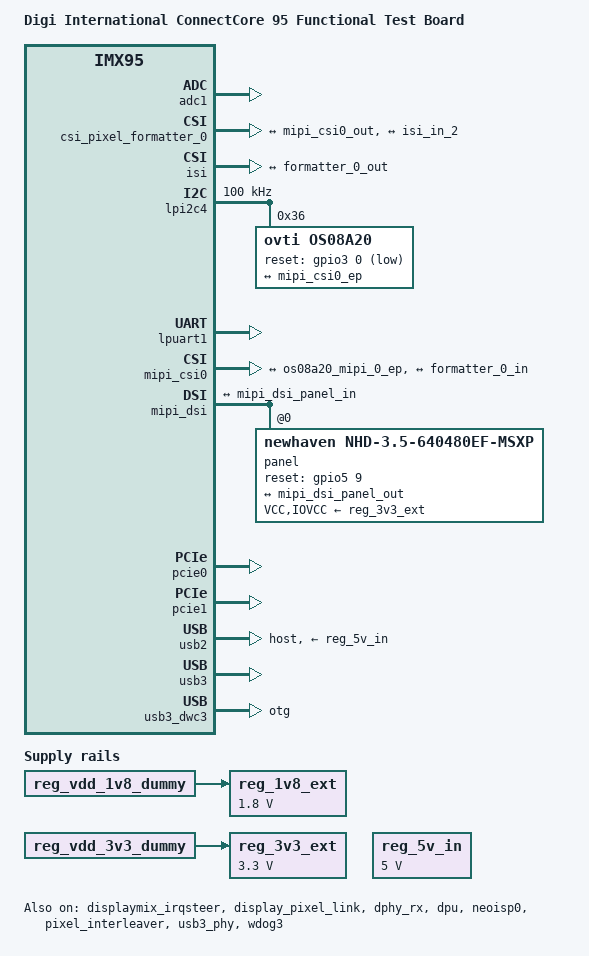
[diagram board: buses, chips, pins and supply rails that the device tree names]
// SPDX-License-Identifier: (GPL-2.0+ OR MIT)
/*
 * Copyright 2026, Digi International Inc.
 */

/dts-v1/;

#include <dt-bindings/phy/phy-imx8-pcie.h>
#include <dt-bindings/pwm/pwm.h>
#include <dt-bindings/usb/pd.h>
/* i.MX95 CPU */
#include "../freescale/imx95.dtsi"
/* Digi ConnectCore 95 (SOM) */
#include "ccimx95.dtsi"

/ {
	model = "Digi International ConnectCore 95 Functional Test Board";
	compatible = "digi,ccimx95-dvk", "digi,ccimx95", "fsl,imx95-19x19-evk", "fsl,imx95";
	digi,machine,name = "ccimx95-dvk";

	chosen {
		stdout-path = &lpuart1;
	};

	regulators {
		compatible = "simple-bus";
		#address-cells = <1>;
		#size-cells = <0>;

		reg_1v8_ext: regulator-1v8-ext {
			compatible = "regulator-fixed";
			regulator-max-microvolt = <1800000>;
			regulator-min-microvolt = <1800000>;
			regulator-name = "1v8_ext";
			vin-supply = <&reg_vdd_1v8_dummy>;
		};

		reg_3v3_ext: regulator-3v3-ext {
			compatible = "regulator-fixed";
			regulator-max-microvolt = <3300000>;
			regulator-min-microvolt = <3300000>;
			regulator-name = "3v3_ext";
			vin-supply = <&reg_vdd_3v3_dummy>;
		};

		reg_5v_in: regulator-5v-board {
			compatible = "regulator-fixed";
			regulator-max-microvolt = <5000000>;
			regulator-min-microvolt = <5000000>;
			regulator-name = "5v_in";
			enable-active-high;
		};
	};
};

&adc1 {
	status = "okay";
};

&csi_pixel_formatter_0 {
	status = "okay";

	ports {
		#address-cells = <1>;
		#size-cells = <0>;

		port@0 {
			reg = <0>;

			formatter_0_in: endpoint {
				remote-endpoint = <&mipi_csi0_out>;
			};
		};

		port@1 {
			reg = <1>;

			formatter_0_out: endpoint {
				remote-endpoint = <&isi_in_2>;
			};
		};
	};
};

&displaymix_irqsteer {
	status = "okay";
};

&display_pixel_link {
	status = "okay";
};

&dphy_rx {
	status = "okay";
};

&dpu {
	assigned-clocks = <&scmi_clk IMX95_CLK_DISP1PIX>,
			  <&scmi_clk IMX95_CLK_VIDEOPLL1_VCO>,
			  <&scmi_clk IMX95_CLK_VIDEOPLL1>;
	assigned-clock-parents = <&scmi_clk IMX95_CLK_VIDEOPLL1>;
	assigned-clock-rates = <0>, <4008000000>, <445333334>;
	status = "okay";
};

&isi {
	status = "okay";

	ports {
		#address-cells = <1>;
		#size-cells = <0>;

		/*
		* ISI ports 0 and 1 are fed by DPU pixel-link outputs.
		* ISI ports 2 and 3 are fed by CameraMix
		* (formatter/interleaver) outputs.
		*/
		port@2 {
			reg = <2>;

			isi_in_2: endpoint {
				remote-endpoint = <&formatter_0_out>;
			};
		};
	};
};

&lpi2c4 {
	#address-cells = <1>;
	#size-cells = <0>;
	clock-frequency = <100000>;
	status = "okay";

	/* MIPI-CSI camera */
	os08a20: os08a20_mipi@36 {
		compatible = "ovti,os08a20";
		reg = <0x36>;
		pinctrl-names = "default";
		pinctrl-0 = <&pinctrl_mipi_camera>;
		reset-gpios = <&gpio3 0 GPIO_ACTIVE_LOW>;
		orientation = <2>;
		rotation = <0>;
		status = "okay";

		port {
			os08a20_mipi_0_ep: endpoint {
				remote-endpoint = <&mipi_csi0_ep>;
				data-lanes = <1 2 3 4>;
				clock-lanes = <0>;
			};
		};
	};
};

/* Console */
&lpuart1 {
	/* Errata: DMA does not work on LPUART1 */
	/delete-property/dmas;
	/delete-property/dma-names;
	status = "okay";
};

&mipi_csi0 {
	status = "okay";

	ports {
		#address-cells = <1>;
		#size-cells = <0>;

		port@0 {
			reg = <0>;

			mipi_csi0_ep: endpoint {
				remote-endpoint = <&os08a20_mipi_0_ep>;
				data-lanes = <1 2 3 4>;
				clock-lanes = <0>;
			};
		};

		port@1 {
			reg = <1>;
			mipi_csi0_out: endpoint {
				remote-endpoint = <&formatter_0_in>;
			};
		};
	};
};

&mipi_dsi {
	#address-cells = <1>;
	#size-cells = <0>;
	status = "okay";

	ports {
		#address-cells = <1>;
		#size-cells = <0>;

		port@1 {
			reg = <1>;

			mipi_dsi_panel_out: endpoint {
				remote-endpoint = <&mipi_dsi_panel_in>;
			};
		};
	};

	panel@0 {
		compatible = "newhaven,nhd-3.5-640480ef-msxp";
		reg = <0>;
		VCC-supply = <&reg_3v3_ext>;
		IOVCC-supply = <&reg_3v3_ext>;
		pinctrl-names = "default";
		pinctrl-0 = <&pinctrl_mipi_display>;
		reset-gpios = <&gpio5 9 GPIO_ACTIVE_HIGH>;
		dsi-lanes = <4>;
		status = "okay";

		port {
			mipi_dsi_panel_in: endpoint {
				remote-endpoint = <&mipi_dsi_panel_out>;
			};
		};
	};
};

&neoisp0 {
	status = "okay";
};

/* M.2 E-Key slot */
&pcie0 {
	vpcie-supply = <&reg_3v3_ext>;
	status = "okay";
};

/* M.2 B-Key slot */
&pcie1 {
	vpcie-supply = <&reg_3v3_ext>;
	status = "okay";
};

&pcie1_ep {
	vpcie-supply = <&reg_3v3_ext>;
};

&pixel_interleaver {
	#address-cells = <1>;
	#size-cells = <0>;
	status = "okay";

	channel@0 {
		reg = <0>;
		status = "okay";
	};
};

&usb2 {
	vbus-supply = <&reg_5v_in>;
	dr_mode = "host";
	disable-over-current;
	status = "okay";
};

&usb3 {
	status = "okay";
};

&usb3_dwc3 {
	dr_mode = "otg";
	hnp-disable;
	srp-disable;
	adp-disable;
	usb-role-switch;
	role-switch-default-mode = "host";
	snps,dis-u1-entry-quirk;
	snps,dis-u2-entry-quirk;
	status = "okay";
};

&usb3_phy {
	vbus-supply = <&reg_5v_in>;
	fsl,phy-pcs-tx-deemph-3p5db-attenuation-db = <17>;
	fsl,phy-pcs-tx-swing-full-percent = <100>;
	fsl,phy-tx-preemp-amp-tune-microamp = <600>;
	fsl,phy-tx-vboost-level-microvolt = <1156>;
	status = "okay";
};

&vpuctrl {
	boot = <&vpu_boot>;
	sram = <&sram1>;
};

&wdog3 {
	status = "okay";
};

&scmi_iomuxc {
	pinctrl-names = "default";
	pinctrl-0 = <&pinctrl_gpio>, <&pinctrl_gpio_non_wb>;

	pinctrl_gpio: gpiogrp {
		fsl,pins = <
			/* Common pairs */
			IMX95_PAD_XSPI1_SS1_B__GPIO5_IO_BIT11	0x31e
			IMX95_PAD_SAI1_RXD0__AONMIX_TOP_GPIO1_IO_BIT14	0x31e

			IMX95_PAD_UART2_RXD__AONMIX_TOP_GPIO1_IO_BIT6	0x31e
			IMX95_PAD_SAI1_TXD0__AONMIX_TOP_GPIO1_IO_BIT13	0x31e

			IMX95_PAD_GPIO_IO07__GPIO2_IO_BIT7	0x31e
			IMX95_PAD_UART2_TXD__AONMIX_TOP_GPIO1_IO_BIT7	0x31e

			IMX95_PAD_GPIO_IO04__GPIO2_IO_BIT4	0x31e
			IMX95_PAD_XSPI1_DATA1__GPIO5_IO_BIT1	0x31e

			IMX95_PAD_GPIO_IO29__GPIO2_IO_BIT29	0x31e
			IMX95_PAD_XSPI1_DATA3__GPIO5_IO_BIT3	0x31e

			IMX95_PAD_XSPI1_DATA0__GPIO5_IO_BIT0	0x31e
			IMX95_PAD_GPIO_IO31__GPIO2_IO_BIT31	0x31e

			IMX95_PAD_GPIO_IO34__GPIO5_IO_BIT14	0x31e
			IMX95_PAD_XSPI1_DATA4__GPIO5_IO_BIT4	0x31e

			IMX95_PAD_SD2_DATA0__GPIO3_IO_BIT3	0x31e
			IMX95_PAD_GPIO_IO00__GPIO2_IO_BIT0	0x31e

			IMX95_PAD_SD2_DATA1__GPIO3_IO_BIT4	0x31e
			IMX95_PAD_I2C2_SCL__AONMIX_TOP_GPIO1_IO_BIT2	0x31e

			IMX95_PAD_SD2_DATA3__GPIO3_IO_BIT6	0x31e
			IMX95_PAD_GPIO_IO01__GPIO2_IO_BIT1	0x31e

			IMX95_PAD_GPIO_IO08__GPIO2_IO_BIT8	0x31e
			IMX95_PAD_PDM_BIT_STREAM0__AONMIX_TOP_GPIO1_IO_BIT9	0x31e

			IMX95_PAD_GPIO_IO09__GPIO2_IO_BIT9	0x31e
			IMX95_PAD_GPIO_IO27__GPIO2_IO_BIT27	0x31e

			IMX95_PAD_GPIO_IO10__GPIO2_IO_BIT10	0x31e
			IMX95_PAD_GPIO_IO25__GPIO2_IO_BIT25	0x31e

			IMX95_PAD_SD2_CMD__GPIO3_IO_BIT2	0x31e
			IMX95_PAD_I2C2_SDA__AONMIX_TOP_GPIO1_IO_BIT3	0x31e

			IMX95_PAD_SD2_DATA2__GPIO3_IO_BIT5	0x31e
			IMX95_PAD_GPIO_IO14__GPIO2_IO_BIT14	0x31e

			IMX95_PAD_SD2_CLK__GPIO3_IO_BIT1	0x31e
			IMX95_PAD_GPIO_IO12__GPIO2_IO_BIT12	0x31e

			IMX95_PAD_GPIO_IO11__GPIO2_IO_BIT11	0x31e
			IMX95_PAD_PDM_CLK__AONMIX_TOP_GPIO1_IO_BIT8	0x31e

			IMX95_PAD_GPIO_IO35__GPIO5_IO_BIT15	0x31e
			IMX95_PAD_XSPI1_DATA5__GPIO5_IO_BIT5	0x31e

			IMX95_PAD_GPIO_IO36__GPIO5_IO_BIT16	0x31e
			IMX95_PAD_XSPI1_DATA6__GPIO5_IO_BIT6	0x31e

			IMX95_PAD_GPIO_IO33__GPIO5_IO_BIT13	0x31e
			IMX95_PAD_XSPI1_DATA7__GPIO5_IO_BIT7	0x31e

			IMX95_PAD_GPIO_IO24__GPIO2_IO_BIT24	0x31e
			IMX95_PAD_GPIO_IO15__GPIO2_IO_BIT15	0x31e

			IMX95_PAD_GPIO_IO32__GPIO5_IO_BIT12	0x31e
			IMX95_PAD_GPIO_IO21__GPIO2_IO_BIT21	0x31e

			IMX95_PAD_GPIO_IO13__GPIO2_IO_BIT13	0x31e
			IMX95_PAD_SAI1_TXC__AONMIX_TOP_GPIO1_IO_BIT12	0x31e

			IMX95_PAD_GPIO_IO16__GPIO2_IO_BIT16	0x31e
			IMX95_PAD_SD2_RESET_B__GPIO3_IO_BIT7	0x31e

			IMX95_PAD_SAI1_TXFS__AONMIX_TOP_GPIO1_IO_BIT11	0x31e
			IMX95_PAD_CCM_CLKO2__GPIO3_IO_BIT27	0x31e

			IMX95_PAD_ENET2_MDIO__GPIO4_IO_BIT15	0x31e
			IMX95_PAD_CCM_CLKO1__GPIO3_IO_BIT26	0x31e

			IMX95_PAD_CCM_CLKO4__GPIO4_IO_BIT29	0x31e
			IMX95_PAD_ENET2_MDC__GPIO4_IO_BIT14	0x31e

			IMX95_PAD_GPIO_IO37__GPIO5_IO_BIT17	0x31e
			IMX95_PAD_GPIO_IO17__GPIO2_IO_BIT17	0x31e

			IMX95_PAD_ENET1_TXC__GPIO4_IO_BIT7	0x31e
			IMX95_PAD_ENET2_TXC__GPIO4_IO_BIT21	0x31e

			IMX95_PAD_ENET1_RXC__GPIO4_IO_BIT9	0x31e
			IMX95_PAD_ENET2_RXC__GPIO4_IO_BIT23	0x31e

			IMX95_PAD_ENET1_TX_CTL__GPIO4_IO_BIT6	0x31e
			IMX95_PAD_ENET2_TX_CTL__GPIO4_IO_BIT20	0x31e

			IMX95_PAD_ENET1_TD1__GPIO4_IO_BIT4	0x31e
			IMX95_PAD_ENET2_TD1__GPIO4_IO_BIT18	0x31e

			IMX95_PAD_ENET1_TD3__GPIO4_IO_BIT2	0x31e
			IMX95_PAD_ENET2_TD3__GPIO4_IO_BIT16	0x31e

			IMX95_PAD_ENET1_RD0__GPIO4_IO_BIT10	0x31e
			IMX95_PAD_ENET2_RD0__GPIO4_IO_BIT24	0x31e

			IMX95_PAD_ENET1_RD2__GPIO4_IO_BIT12	0x31e
			IMX95_PAD_ENET2_RD2__GPIO4_IO_BIT26	0x31e

			IMX95_PAD_ENET1_RX_CTL__GPIO4_IO_BIT8	0x31e
			IMX95_PAD_ENET2_RX_CTL__GPIO4_IO_BIT22	0x31e

			IMX95_PAD_ENET1_TD0__GPIO4_IO_BIT5	0x31e
			IMX95_PAD_ENET2_TD0__GPIO4_IO_BIT19	0x31e

			IMX95_PAD_ENET1_TD2__GPIO4_IO_BIT3	0x31e
			IMX95_PAD_ENET2_TD2__GPIO4_IO_BIT17	0x31e

			IMX95_PAD_ENET1_RD1__GPIO4_IO_BIT11	0x31e
			IMX95_PAD_ENET2_RD1__GPIO4_IO_BIT25	0x31e

			IMX95_PAD_ENET1_RD3__GPIO4_IO_BIT13	0x31e
			IMX95_PAD_ENET2_RD3__GPIO4_IO_BIT27	0x31e

			IMX95_PAD_GPIO_IO23__GPIO2_IO_BIT23	0x31e
			IMX95_PAD_GPIO_IO28__GPIO2_IO_BIT28	0x31e

			IMX95_PAD_GPIO_IO20__GPIO2_IO_BIT20	0x31e
			IMX95_PAD_GPIO_IO26__GPIO2_IO_BIT26	0x31e
			IMX95_PAD_XSPI1_SS0_B__GPIO5_IO_BIT10	0x31e

			IMX95_PAD_GPIO_IO05__GPIO2_IO_BIT5	0x31e
			IMX95_PAD_XSPI1_DATA2__GPIO5_IO_BIT2	0x31e

			IMX95_PAD_GPIO_IO30__GPIO2_IO_BIT30	0x31e
			IMX95_PAD_XSPI1_DQS__GPIO5_IO_BIT8	0x31e

			IMX95_PAD_ENET1_MDC__GPIO4_IO_BIT0	0x31e
			IMX95_PAD_ENET1_MDIO__GPIO4_IO_BIT1	0x31e
		>;
	};

	pinctrl_gpio_non_wb: gpiononwbgrp {
		fsl,pins = <
			/* Non-wireless pairs */
			IMX95_PAD_SD3_DATA1__GPIO3_IO_BIT23	0x31e
			IMX95_PAD_SD3_CLK__GPIO3_IO_BIT20	0x31e

			IMX95_PAD_SD3_DATA2__GPIO3_IO_BIT24	0x31e
			IMX95_PAD_SD3_CMD__GPIO3_IO_BIT21	0x31e

			IMX95_PAD_SD3_DATA3__GPIO3_IO_BIT25	0x31e
			IMX95_PAD_SD3_DATA0__GPIO3_IO_BIT22	0x31e

			IMX95_PAD_CCM_CLKO3__GPIO4_IO_BIT28	0x31e
			IMX95_PAD_GPIO_IO18__GPIO2_IO_BIT18	0x31e

			IMX95_PAD_GPIO_IO19__GPIO2_IO_BIT19	0x31e
			IMX95_PAD_GPIO_IO06__GPIO2_IO_BIT6	0x31e
		>;
	};

	/* MIPI camera */
	pinctrl_mipi_camera: mipicamera {
		fsl,pins = <
			/* CSI1_PWDN# */
			IMX95_PAD_SD2_CD_B__GPIO3_IO_BIT0	0x31e
		>;
	};

	/* MIPI display */
	pinctrl_mipi_display: mipidisplay {
		fsl,pins = <
			/* DISP_RESET */
			IMX95_PAD_XSPI1_SCLK__GPIO5_IO_BIT9	0x31e
		>;
	};
};
